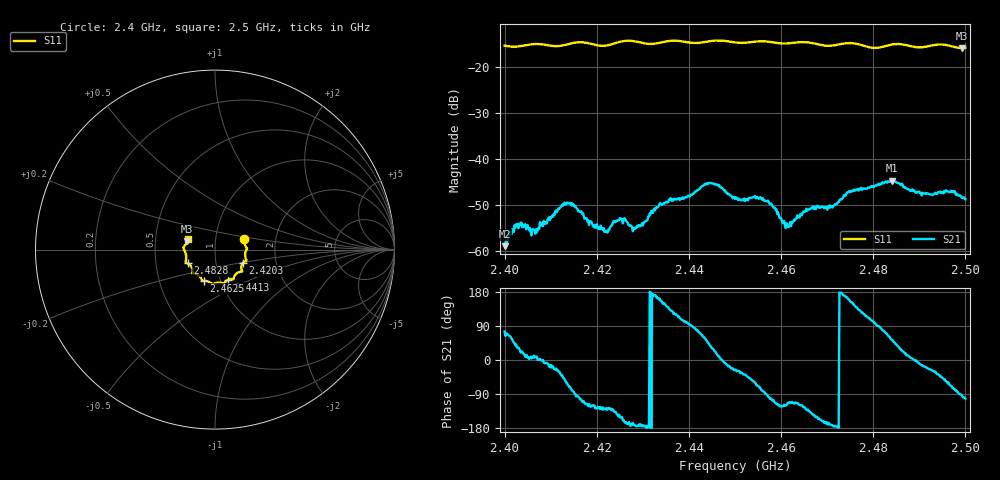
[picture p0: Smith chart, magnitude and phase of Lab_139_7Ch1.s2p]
# Hz S RI R 50
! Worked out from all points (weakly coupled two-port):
!   601 points, 2.4 GHz to 2.5 GHz, reference 50 ohm
!   highest |S21| = -44.70 dB at 2.484 GHz (marker M1); lowest = -59.0 dB at 2.4 GHz (marker M2)
!   lowest |S11| = -15.8 dB at 2.4993 GHz (marker M3), VSWR 1.38, Z = 36.5 + j3.6 ohm
!   |S11| at or under -10 dB: start of sweep to end of sweep
!   S12 and S22 are empty: the file has one direction only
!   S11 on the Smith chart (normalised r, x): 2.4 GHz: 1.37, +0.17; 2.4203 GHz: 1.35, -0.20; 2.4413 GHz: 1.09, -0.38; 2.4625 GHz: 0.84, -0.30; 2.4828 GHz: 0.73, -0.11; 2.5 GHz: 0.73, +0.09
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2.4e9  0.1616 0.0584  0.00029 0.00108  0 0  0 0
2.402667e9  0.165 0.0292  0.00155 0.00107  0 0  0 0
2.407e9  0.1789 0.00671  0.00158 0.000249  0 0  0 0
2.413333e9  0.17 -0.0449  0.0016 -0.00274  0 0  0 0
2.416667e9  0.1764 -0.0622  -0.000713 -0.00259  0 0  0 0
2.420333e9  0.156 -0.0732  -0.000974 -0.00144  0 0  0 0
2.422167e9  0.1475 -0.0898  -0.00109 -0.00123  0 0  0 0
2.4255e9  0.1509 -0.1177  -0.00188 -0.00105  0 0  0 0
2.428333e9  0.1469 -0.1225  -0.00172 -0.000237  0 0  0 0
2.433333e9  0.1077 -0.1479  -0.00286 0.000962  0 0  0 0
2.441333e9  0.0752 -0.1675  0.000484 0.00439  0 0  0 0
2.444833e9  0.0523 -0.1858  0.00454 0.00301  0 0  0 0
2.45e9  0.0304 -0.1838  0.0033 -0.0016  0 0  0 0
2.455833e9  -0.0117 -0.1913  0.000629 -0.00354  0 0  0 0
2.460833e9  -0.0459 -0.1751  -0.000942 -0.00161  0 0  0 0
2.4625e9  -0.0604 -0.1738  -0.000801 -0.00185  0 0  0 0
2.466667e9  -0.0743 -0.1682  -0.00226 -0.0018  0 0  0 0
2.482833e9  -0.1528 -0.0767  0.00193 0.00529  0 0  0 0
2.483333e9  -0.1566 -0.0752  0.00255 0.00501  0 0  0 0
2.484e9  -0.1604 -0.0737  0.00344 0.00469  0 0  0 0
2.499333e9  -0.154 0.048  -0.000415 -0.00373  0 0  0 0
2.5e9  -0.152 0.0571  -0.000763 -0.00356  0 0  0 0
